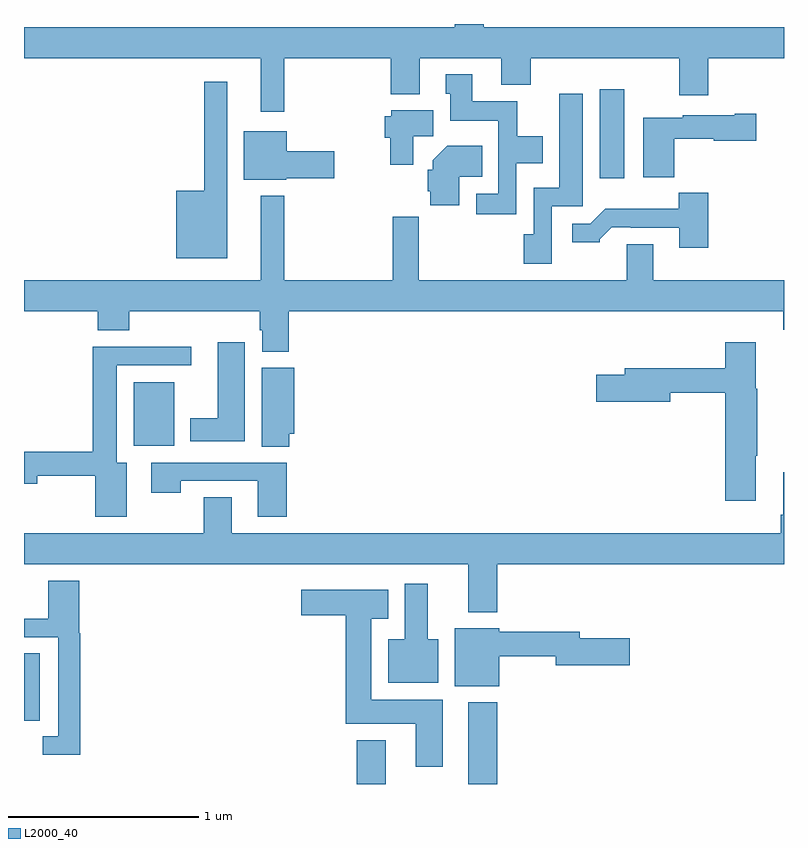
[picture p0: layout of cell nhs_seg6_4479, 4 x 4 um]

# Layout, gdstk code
import gdstk
lib = gdstk.Library(unit=1e-6, precision=1e-09)
def R(c, l, rs):  # rectangles x0, y0, x1, y1
    for r in rs: c.add(gdstk.rectangle(r[:2], r[2:], *l))
def P(c, l, *ps):  # polygons
    for p in ps: c.add(gdstk.Polygon(p, *l))
L2000_40 = (2000, 40)

nhs_seg6_4479 = lib.new_cell('nhs_seg6_4479')
R(nhs_seg6_4479, L2000_40, [(376.751,959.5,376.903,959.731), (377.339,959.5,377.492,959.929), (375,959.832,375.082,960.188), (375.578,961.28,375.79,961.615), (378.029,962.688,378.16,963.157)])
P(nhs_seg6_4479, L2000_40, [(376.369,963.32),(376.931,963.32),(376.931,963.131),(377.083,963.131),(377.083,963.32),(377.513,963.32),(377.513,963.179),(377.666,963.179),(377.666,963.32),(378.449,963.32),(378.449,963.126),(378.602,963.126),(378.602,963.32),(379,963.32),(379,963.484),(377.42,963.484),(377.42,963.5),(377.267,963.5),(377.267,963.484),(375,963.484),(375,963.32),(376.247,963.32),(376.247,963.039),(376.369,963.039)],
  [(377.592,962.768),(377.731,962.768),(377.731,962.908),(377.595,962.908),(377.595,963.094),(377.359,963.094),(377.359,963.235),(377.219,963.235),(377.219,963.132),(377.243,963.132),(377.243,962.99),(377.496,962.99),(377.496,962.607),(377.379,962.607),(377.379,962.499),(377.592,962.499)],
  [(376.069,963.196),(375.948,963.196),(375.948,962.623),(375.8,962.623),(375.8,962.267),(376.069,962.267)],
  [(377.778,962.541),(377.941,962.541),(377.941,963.133),(377.816,963.133),(377.816,962.638),(377.682,962.638),(377.682,962.394),(377.63,962.394),(377.63,962.238),(377.778,962.238)],
  [(377.049,962.908),(377.155,962.908),(377.155,963.046),(376.932,963.046),(376.932,963.015),(376.898,963.015),(376.898,962.901),(376.928,962.901),(376.928,962.76),(377.049,962.76)],
  [(378.422,962.897),(378.63,962.897),(378.63,962.885),(378.853,962.885),(378.853,963.027),(378.74,963.027),(378.74,963.019),(378.468,963.019),(378.468,963.007),(378.26,963.007),(378.26,962.693),(378.422,962.693)],
  [(376.38,962.687),(376.633,962.687),(376.633,962.829),(376.384,962.829),(376.384,962.935),(376.157,962.935),(376.157,962.681),(376.38,962.681)],
  [(377.29,962.696),(377.411,962.696),(377.411,962.86),(377.228,962.86),(377.15,962.782),(377.15,962.733),(377.126,962.733),(377.126,962.619),(377.138,962.619),(377.138,962.546),(377.29,962.546)],
  [(378.602,962.611),(378.447,962.611),(378.447,962.527),(378.058,962.527),(377.979,962.448),(377.886,962.448),(377.886,962.351),(378.03,962.351),(378.03,962.366),(378.094,962.43),(378.193,962.43),(378.193,962.427),(378.449,962.427),(378.449,962.322),(378.602,962.322)],
  [(376.394,961.988),(378.997,961.988),(378.997,961.892),(379,961.892),(379,962.152),(378.313,962.152),(378.313,962.342),(378.173,962.342),(378.173,962.152),(377.078,962.152),(377.078,962.485),(376.942,962.485),(376.942,962.152),(376.369,962.152),(376.369,962.596),(376.247,962.596),(376.247,962.152),(375,962.152),(375,961.988),(375.389,961.988),(375.389,961.889),(375.554,961.889),(375.554,961.988),(376.241,961.988),(376.241,961.887),(376.253,961.887),(376.253,961.775),(376.394,961.775)],
  [(376.162,961.825),(376.019,961.825),(376.019,961.426),(375.875,961.426),(375.875,961.304),(376.162,961.304)],
  [(378.85,961.228),(378.858,961.228),(378.858,961.581),(378.85,961.581),(378.85,961.825),(378.692,961.825),(378.692,961.687),(378.161,961.687),(378.161,961.653),(378.012,961.653),(378.012,961.511),(378.4,961.511),(378.4,961.558),(378.692,961.558),(378.692,960.99),(378.85,960.99)],
  [(375.541,961.192),(375.487,961.192),(375.487,961.704),(375.88,961.704),(375.88,961.802),(375.362,961.802),(375.362,961.25),(375,961.25),(375,961.079),(375.07,961.079),(375.07,961.122),(375.374,961.122),(375.374,960.906),(375.541,960.906)],
  [(376.397,961.343),(376.423,961.343),(376.423,961.69),(376.25,961.69),(376.25,961.276),(376.397,961.276)],
  [(376.382,961.191),(375.669,961.191),(375.669,961.032),(375.825,961.032),(375.825,961.095),(376.229,961.095),(376.229,960.906),(376.382,960.906)],
  [(377.492,960.656),(379,960.656),(379,961.141),(378.995,961.141),(378.995,960.916),(378.983,960.916),(378.983,960.82),(376.093,960.82),(376.093,961.01),(375.946,961.01),(375.946,960.82),(375,960.82),(375,960.656),(377.339,960.656),(377.339,960.404),(377.492,960.404)],
  [(375.296,960.294),(375.29,960.294),(375.29,960.571),(375.128,960.571),(375.128,960.369),(375,960.369),(375,960.273),(375.18,960.273),(375.18,959.751),(375.099,959.751),(375.099,959.654),(375.296,959.654)],
  [(377.179,960.262),(377.125,960.262),(377.125,960.553),(377.003,960.553),(377.003,960.262),(376.916,960.262),(376.916,960.032),(377.179,960.032)],
  [(377.203,959.944),(376.828,959.944),(376.828,960.371),(376.918,960.371),(376.918,960.523),(376.458,960.523),(376.458,960.389),(376.694,960.389),(376.694,959.816),(377.063,959.816),(377.063,959.592),(377.203,959.592)],
  [(377.5,960.172),(377.798,960.172),(377.798,960.125),(378.187,960.125),(378.187,960.267),(377.926,960.267),(377.926,960.301),(377.5,960.301),(377.5,960.319),(377.267,960.319),(377.267,960.014),(377.5,960.014)])

lib.write_gds('nhs_seg6_4479.gds')
